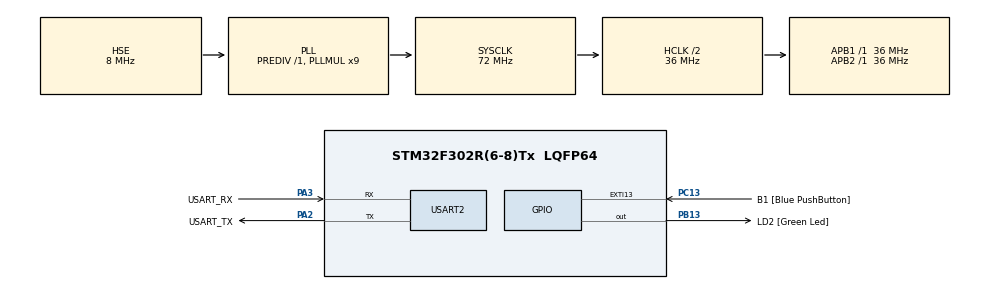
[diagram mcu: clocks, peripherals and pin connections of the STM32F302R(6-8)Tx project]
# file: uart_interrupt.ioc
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Mcu.Family=STM32F3
Mcu.Name=STM32F302R(6-8)Tx
Mcu.Package=LQFP64
NVIC.PriorityGroup=NVIC_PRIORITYGROUP_0
NVIC.USART2_IRQn=true\:0\:0\:false\:false\:true\:true\:true\:true
PA13.GPIO_Label=TMS
PA13.Mode=Serial_Wire
PA13.Signal=SYS_JTMS-SWDIO
PA14.GPIO_Label=TCK
PA14.Mode=Serial_Wire
PA14.Signal=SYS_JTCK-SWCLK
PA2.GPIO_Label=USART_TX
PA2.GPIO_Mode=GPIO_MODE_AF_PP
PA2.GPIO_PuPd=GPIO_NOPULL
PA2.GPIO_Speed=GPIO_SPEED_FREQ_LOW
PA2.Mode=Asynchronous
PA2.Signal=USART2_TX
PA3.GPIO_Label=USART_RX
PA3.GPIO_Mode=GPIO_MODE_AF_PP
PA3.GPIO_PuPd=GPIO_NOPULL
PA3.GPIO_Speed=GPIO_SPEED_FREQ_LOW
PA3.Mode=Asynchronous
PA3.Signal=USART2_RX
PB13.GPIO_Label=LD2 [Green Led]
PB13.Signal=GPIO_Output
PB3.GPIO_Label=SWO
PB3.Signal=SYS_JTDO-TRACESWO
PC13.GPIO_Label=B1 [Blue PushButton]
PC13.GPIO_ModeDefaultEXTI=GPIO_MODE_IT_FALLING
PC13.Signal=GPXTI13
PC14\ -\ OSC32_IN.Mode=LSE-External-Clock-Source
PC14\ -\ OSC32_IN.Signal=RCC_OSC32_IN
PC15\ -\ OSC32_OUT.Signal=RCC_OSC32_OUT
PF0-OSC_IN.Mode=HSE-External-Oscillator
PF0-OSC_IN.Signal=RCC_OSC_IN
PF1-OSC_OUT.Mode=HSE-External-Oscillator
PF1-OSC_OUT.Signal=RCC_OSC_OUT
ProjectManager.HeapSize=0x200
ProjectManager.StackSize=0x400
ProjectManager.TargetToolchain=STM32CubeIDE
RCC.AHBCLKDivider=RCC_SYSCLK_DIV2
RCC.AHBFreq_Value=36000000
RCC.APB1Freq_Value=36000000
RCC.APB1TimFreq_Value=36000000
RCC.APB2Freq_Value=36000000
RCC.APB2TimFreq_Value=36000000
RCC.CortexFreq_Value=36000000
RCC.HCLKFreq_Value=36000000
RCC.HSE_VALUE=8000000
RCC.HSI_VALUE=8000000
RCC.LSE_VALUE=32768
RCC.PLLM=8
RCC.PLLMUL=RCC_PLL_MUL9
RCC.PLLN=336
RCC.PLLP=RCC_PLLP_DIV4
RCC.PLLQ=7
RCC.PLLSourceVirtual=RCC_PLLSOURCE_HSE
RCC.SYSCLKFreq_VALUE=72000000
RCC.SYSCLKSourceVirtual=RCC_SYSCLKSOURCE_PLLCLK
RCC.USBFreq_Value=72000000
USART2.VirtualMode-Asynchronous=VM_ASYNC
board=NUCLEO-F302R8

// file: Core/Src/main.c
/* USER CODE BEGIN Header */
/**
  ******************************************************************************
  * @file           : main.c
  * @brief          : Main program body
  ******************************************************************************
  * @attention
  *
  * Copyright (c) 2026 STMicroelectronics.
  * All rights reserved.
  *
  * This software is licensed under terms that can be found in the LICENSE file
  * in the root directory of this software component.
  * If no LICENSE file comes with this software, it is provided AS-IS.
  *
  ******************************************************************************
  */
/* USER CODE END Header */
#include "main.h"
#include "usart.h"
#include "gpio.h"

/* USER CODE BEGIN PV */
uint8_t rx;
uint8_t buffer[50];
uint8_t idx;
uint8_t var[] = "\r\n";

/* USER CODE END PV */

void SystemClock_Config(void);

int main(void)
{

  /* MCU Configuration--------------------------------------------------------*/

  /* Reset of all peripherals, Initializes the Flash interface and the Systick. */
  HAL_Init();

  /* Configure the system clock */
  SystemClock_Config();

  /* Initialize all configured peripherals */
  MX_GPIO_Init();
  MX_USART2_UART_Init();
  /* USER CODE BEGIN 2 */
  HAL_UART_Receive_IT(&huart2, &rx, 1);

  /* USER CODE END 2 */

  /* Infinite loop */
  while (1)
  {

  }
}

void SystemClock_Config(void)
{
  RCC_OscInitTypeDef RCC_OscInitStruct = {0};
  RCC_ClkInitTypeDef RCC_ClkInitStruct = {0};

  /** Initializes the RCC Oscillators according to the specified parameters
  * in the RCC_OscInitTypeDef structure.
  */
  RCC_OscInitStruct.OscillatorType = RCC_OSCILLATORTYPE_HSE;
  RCC_OscInitStruct.HSEState = RCC_HSE_ON;
  RCC_OscInitStruct.HSEPredivValue = RCC_HSE_PREDIV_DIV1;
  RCC_OscInitStruct.HSIState = RCC_HSI_ON;
  RCC_OscInitStruct.PLL.PLLState = RCC_PLL_ON;
  RCC_OscInitStruct.PLL.PLLSource = RCC_PLLSOURCE_HSE;
  RCC_OscInitStruct.PLL.PLLMUL = RCC_PLL_MUL9;
  if (HAL_RCC_OscConfig(&RCC_OscInitStruct) != HAL_OK)
  {
    Error_Handler();
  }

  /** Initializes the CPU, AHB and APB buses clocks
  */
  RCC_ClkInitStruct.ClockType = RCC_CLOCKTYPE_HCLK|RCC_CLOCKTYPE_SYSCLK
                              |RCC_CLOCKTYPE_PCLK1|RCC_CLOCKTYPE_PCLK2;
  RCC_ClkInitStruct.SYSCLKSource = RCC_SYSCLKSOURCE_PLLCLK;
  RCC_ClkInitStruct.AHBCLKDivider = RCC_SYSCLK_DIV2;
  RCC_ClkInitStruct.APB1CLKDivider = RCC_HCLK_DIV1;
  RCC_ClkInitStruct.APB2CLKDivider = RCC_HCLK_DIV1;

  if (HAL_RCC_ClockConfig(&RCC_ClkInitStruct, FLASH_LATENCY_1) != HAL_OK)
  {
    Error_Handler();
  }
}

/* USER CODE BEGIN 4 */
void HAL_UART_RxCpltCallback(UART_HandleTypeDef *huart)
{

    if (rx == '\r' || rx == '\n')
    {
      HAL_UART_Transmit(&huart2, var, 2, 10);
      HAL_UART_Transmit(&huart2, buffer, idx, 100);
      HAL_UART_Transmit(&huart2, var, 2, 10);
	  idx = 0;
    }
    else
	{
	  if (idx < sizeof(buffer))
	  {
		 buffer[idx++] = rx;
		 HAL_UART_Transmit(&huart2, &rx, 1, 10);
	  }
	}
	HAL_UART_Receive_IT(huart,&rx, 1);

}

/* USER CODE END 4 */

void Error_Handler(void)
{
  __disable_irq();
  while (1)
  {
  }
}
